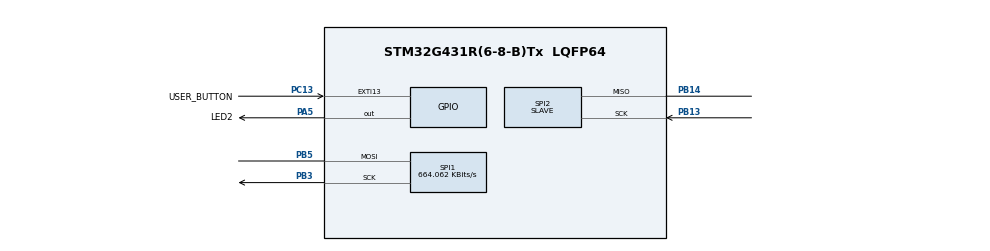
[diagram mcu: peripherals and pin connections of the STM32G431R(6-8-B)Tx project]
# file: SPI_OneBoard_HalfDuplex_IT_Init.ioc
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Mcu.Family=STM32G4
Mcu.Name=STM32G431R(6-8-B)Tx
Mcu.Package=LQFP64
NVIC.EXTI15_10_IRQn=true\:0\:0\:false\:false\:true\:true\:true\:true
NVIC.PriorityGroup=NVIC_PRIORITYGROUP_4
NVIC.SPI1_IRQn=true\:1\:0\:false\:false\:true\:true\:true\:true
NVIC.SPI2_IRQn=true\:1\:0\:false\:false\:true\:true\:true\:true
PA5.GPIO_Label=LED2
PA5.Signal=GPIO_Output
PB13.GPIO_PuPd=GPIO_PULLDOWN
PB13.GPIO_Speed=GPIO_SPEED_FREQ_HIGH
PB13.Mode=Simplex_Bidirectional_Slave
PB13.Signal=SPI2_SCK
PB14.GPIO_PuPd=GPIO_PULLDOWN
PB14.GPIO_Speed=GPIO_SPEED_FREQ_HIGH
PB14.Mode=Simplex_Bidirectional_Slave
PB14.Signal=SPI2_MISO
PB3.GPIO_PuPd=GPIO_PULLDOWN
PB3.GPIO_Speed=GPIO_SPEED_FREQ_HIGH
PB3.Mode=Simplex_Bidirectional_Master
PB3.Signal=SPI1_SCK
PB5.GPIO_PuPd=GPIO_PULLDOWN
PB5.GPIO_Speed=GPIO_SPEED_FREQ_HIGH
PB5.Mode=Simplex_Bidirectional_Master
PB5.Signal=SPI1_MOSI
PC13.GPIO_Label=USER_BUTTON
PC13.GPIO_ModeDefaultEXTI=GPIO_MODE_IT_FALLING
PC13.GPIO_PuPd=GPIO_NOPULL
PC13.Signal=GPXTI13
ProjectManager.HeapSize=0x200
ProjectManager.StackSize=0x400
ProjectManager.TargetToolchain=EWARM V8.32
RCC.ADC12Freq_Value=170000000
RCC.AHBFreq_Value=170000000
RCC.APB1Freq_Value=170000000
RCC.APB1TimFreq_Value=170000000
RCC.APB2Freq_Value=170000000
RCC.APB2TimFreq_Value=170000000
RCC.CortexFreq_Value=170000000
RCC.EXTERNAL_CLOCK_VALUE=12288000
RCC.HCLKFreq_Value=170000000
RCC.HSE_VALUE=24000000
RCC.HSI48_VALUE=48000000
RCC.HSI_VALUE=16000000
RCC.LSE_VALUE=32768
RCC.PLLM=RCC_PLLM_DIV4
RCC.PLLN=85
RCC.SYSCLKFreq_VALUE=170000000
RCC.SYSCLKSource=RCC_SYSCLKSOURCE_PLLCLK
RCC.USBFreq_Value=170000000
RCC.VCOOutputFreq_Value=340000000
SPI1.BaudRatePrescaler=SPI_BAUDRATEPRESCALER_256
SPI1.CLKPhase=SPI_PHASE_2EDGE
SPI1.CLKPolarity=SPI_POLARITY_HIGH
SPI1.CRCCalculation=SPI_CRCCALCULATION_DISABLE
SPI1.CalculateBaudRate=664.062 KBits/s
SPI1.DataSize=SPI_DATASIZE_8BIT
SPI1.Direction=SPI_DIRECTION_1LINE
SPI1.FirstBit=SPI_FIRSTBIT_MSB
SPI1.Mode=SPI_MODE_MASTER
SPI1.NSS=SPI_NSS_SOFT
SPI1.TIMode=SPI_TIMODE_DISABLE
SPI1.VirtualType=VM_MASTER
SPI2.CLKPhase=SPI_PHASE_2EDGE
SPI2.CLKPolarity=SPI_POLARITY_HIGH
SPI2.CRCCalculation=SPI_CRCCALCULATION_DISABLE
SPI2.DataSize=SPI_DATASIZE_8BIT
SPI2.Direction=SPI_DIRECTION_1LINE
SPI2.FirstBit=SPI_FIRSTBIT_MSB
SPI2.Mode=SPI_MODE_SLAVE
SPI2.NSS=SPI_NSS_SOFT
SPI2.TIMode=SPI_TIMODE_DISABLE
SPI2.VirtualType=VM_SLAVE
VP_SYS_VS_DBSignals.Mode=DisableDeadBatterySignals
board=custom

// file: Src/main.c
/* USER CODE BEGIN Header */
/**
  ******************************************************************************
  * @file    Examples_LL/SPI/SPI_OneBoard_HalfDuplex_IT_Init/Src/main.c
  * @author  MCD Application Team
  * @brief   This example describes how to send/receive bytes over SPI IP using
  *          the STM32G4xx SPI LL API.
  *          Peripheral initialization done using LL unitary services functions.
  ******************************************************************************
  * @attention
  *
  * <h2><center>&copy; Copyright (c) 2019 STMicroelectronics.
  * All rights reserved.</center></h2>
  *
  * This software component is licensed by ST under BSD 3-Clause license,
  * the "License"; You may not use this file except in compliance with the
  * License. You may obtain a copy of the License at:
  *                        opensource.org/licenses/BSD-3-Clause
  *
  ******************************************************************************
  */
/* USER CODE END Header */

#include "main.h"

/* USER CODE BEGIN PV */

__IO uint8_t ubButtonPress = 0;

/* Buffer used for transmission */
uint8_t aTxBuffer[] = "**** SPI_OneBoard_HalfDuplex_IT_Init communication **** SPI_OneBoard_HalfDuplex_IT_Init communication **** SPI_OneBoard_HalfDuplex_IT_Init communication ****";
uint8_t ubNbDataToTransmit = sizeof(aTxBuffer);
__IO uint8_t ubTransmitIndex = 0;

/* Buffer used for reception */
uint8_t aRxBuffer[sizeof(aTxBuffer)];
uint8_t ubNbDataToReceive = sizeof(aTxBuffer);
__IO uint8_t ubReceiveIndex = 0;

/* USER CODE END PV */

void SystemClock_Config(void);
static void MX_GPIO_Init(void);
static void MX_SPI1_Init(void);
static void MX_SPI2_Init(void);
/* USER CODE BEGIN PFP */
void     Activate_SPI1(void);
void     Activate_SPI2(void);
void     LED_On(void);
void     LED_Blinking(uint32_t Period);
void     LED_Off(void);
void     WaitForUserButtonPress(void);
void     WaitAndCheckEndOfTransfer(void);
uint8_t  Buffercmp8(uint8_t *pBuffer1, uint8_t *pBuffer2, uint8_t BufferLength);

/* USER CODE END PFP */

int main(void)
{

  /* MCU Configuration--------------------------------------------------------*/

  /* Reset of all peripherals, Initializes the Flash interface and the Systick. */

  LL_APB2_GRP1_EnableClock(LL_APB2_GRP1_PERIPH_SYSCFG);
  LL_APB1_GRP1_EnableClock(LL_APB1_GRP1_PERIPH_PWR);

  NVIC_SetPriorityGrouping(NVIC_PRIORITYGROUP_4);

  /* System interrupt init*/

  /* Configure the system clock */
  SystemClock_Config();

  /* Initialize all configured peripherals */
  MX_GPIO_Init();
  MX_SPI1_Init();
  MX_SPI2_Init();
  /* USER CODE BEGIN 2 */

  /* Configure the SPI2 FIFO Threshold */
  LL_SPI_SetRxFIFOThreshold(SPI2, LL_SPI_RX_FIFO_TH_QUARTER);

  /* Configure SPI1 transfer interrupts */
  /* Enable TXE   Interrupt */
  LL_SPI_EnableIT_TXE(SPI1);
  /* Enable SPI1 Error Interrupt */
  LL_SPI_EnableIT_ERR(SPI1);

  /* Configure SPI2 transfer interrupts */
  /* Enable RXNE  Interrupt */
  LL_SPI_EnableIT_RXNE(SPI2);
  /* Enable SPI2 Error Interrupt */
  LL_SPI_EnableIT_ERR(SPI2);

  /* Enable the SPI2 peripheral */
  Activate_SPI2();

  /* Wait for User push-button press to start transfer */
  WaitForUserButtonPress();

  /* Enable the SPI1 peripheral */
  Activate_SPI1();

  /* Wait for the end of the transfer and check received data */
  /* LED blinking FAST during waiting time */
  WaitAndCheckEndOfTransfer();

  /* USER CODE END 2 */

  /* Infinite loop */
  while (1)
  {

  }
}

void SystemClock_Config(void)
{
  LL_FLASH_SetLatency(LL_FLASH_LATENCY_8);
  LL_PWR_EnableRange1BoostMode();
  LL_RCC_HSI_Enable();

   /* Wait till HSI is ready */
  while(LL_RCC_HSI_IsReady() != 1)
  {

  }
  LL_RCC_HSI_SetCalibTrimming(64);
  LL_RCC_PLL_ConfigDomain_SYS(LL_RCC_PLLSOURCE_HSI, LL_RCC_PLLM_DIV_4, 85, LL_RCC_PLLR_DIV_2);
  LL_RCC_PLL_EnableDomain_SYS();
  LL_RCC_PLL_Enable();

   /* Wait till PLL is ready */
  while(LL_RCC_PLL_IsReady() != 1)
  {

  }
  LL_RCC_SetSysClkSource(LL_RCC_SYS_CLKSOURCE_PLL);
  LL_RCC_SetAHBPrescaler(LL_RCC_SYSCLK_DIV_2);

   /* Wait till System clock is ready */
  while(LL_RCC_GetSysClkSource() != LL_RCC_SYS_CLKSOURCE_STATUS_PLL)
  {

  }
  /* Insure 1µs transition state at intermediate medium speed clock based on DWT */
  CoreDebug->DEMCR |= CoreDebug_DEMCR_TRCENA_Msk;
  DWT->CTRL |= DWT_CTRL_CYCCNTENA_Msk;
  DWT->CYCCNT = 0;
  while(DWT->CYCCNT < 100);
  /* Set AHB prescaler*/
  LL_RCC_SetAHBPrescaler(LL_RCC_SYSCLK_DIV_1);
  LL_RCC_SetAPB1Prescaler(LL_RCC_APB1_DIV_1);
  LL_RCC_SetAPB2Prescaler(LL_RCC_APB1_DIV_1);
  LL_Init1msTick(170000000);
  LL_SetSystemCoreClock(170000000);
}

static void MX_SPI1_Init(void)
{

  LL_SPI_InitTypeDef SPI_InitStruct = {0};

  LL_GPIO_InitTypeDef GPIO_InitStruct = {0};

  /* Peripheral clock enable */
  LL_APB2_GRP1_EnableClock(LL_APB2_GRP1_PERIPH_SPI1);

  LL_AHB2_GRP1_EnableClock(LL_AHB2_GRP1_PERIPH_GPIOB);
  /**SPI1 GPIO Configuration
  PB3   ------> SPI1_SCK
  PB5   ------> SPI1_MOSI
  */
  GPIO_InitStruct.Pin = LL_GPIO_PIN_3;
  GPIO_InitStruct.Mode = LL_GPIO_MODE_ALTERNATE;
  GPIO_InitStruct.Speed = LL_GPIO_SPEED_FREQ_HIGH;
  GPIO_InitStruct.OutputType = LL_GPIO_OUTPUT_PUSHPULL;
  GPIO_InitStruct.Pull = LL_GPIO_PULL_DOWN;
  GPIO_InitStruct.Alternate = LL_GPIO_AF_5;
  LL_GPIO_Init(GPIOB, &GPIO_InitStruct);

  GPIO_InitStruct.Pin = LL_GPIO_PIN_5;
  GPIO_InitStruct.Mode = LL_GPIO_MODE_ALTERNATE;
  GPIO_InitStruct.Speed = LL_GPIO_SPEED_FREQ_HIGH;
  GPIO_InitStruct.OutputType = LL_GPIO_OUTPUT_PUSHPULL;
  GPIO_InitStruct.Pull = LL_GPIO_PULL_DOWN;
  GPIO_InitStruct.Alternate = LL_GPIO_AF_5;
  LL_GPIO_Init(GPIOB, &GPIO_InitStruct);

  /* SPI1 interrupt Init */
  NVIC_SetPriority(SPI1_IRQn, NVIC_EncodePriority(NVIC_GetPriorityGrouping(),1, 0));
  NVIC_EnableIRQ(SPI1_IRQn);

  /* SPI1 parameter configuration*/
  SPI_InitStruct.TransferDirection = LL_SPI_HALF_DUPLEX_TX;
  SPI_InitStruct.Mode = LL_SPI_MODE_MASTER;
  SPI_InitStruct.DataWidth = LL_SPI_DATAWIDTH_8BIT;
  SPI_InitStruct.ClockPolarity = LL_SPI_POLARITY_HIGH;
  SPI_InitStruct.ClockPhase = LL_SPI_PHASE_2EDGE;
  SPI_InitStruct.NSS = LL_SPI_NSS_SOFT;
  SPI_InitStruct.BaudRate = LL_SPI_BAUDRATEPRESCALER_DIV256;
  SPI_InitStruct.BitOrder = LL_SPI_MSB_FIRST;
  SPI_InitStruct.CRCCalculation = LL_SPI_CRCCALCULATION_DISABLE;
  SPI_InitStruct.CRCPoly = 7;
  LL_SPI_Init(SPI1, &SPI_InitStruct);
  LL_SPI_SetStandard(SPI1, LL_SPI_PROTOCOL_MOTOROLA);
  LL_SPI_DisableNSSPulseMgt(SPI1);

}

static void MX_SPI2_Init(void)
{

  LL_SPI_InitTypeDef SPI_InitStruct = {0};

  LL_GPIO_InitTypeDef GPIO_InitStruct = {0};

  /* Peripheral clock enable */
  LL_APB1_GRP1_EnableClock(LL_APB1_GRP1_PERIPH_SPI2);

  LL_AHB2_GRP1_EnableClock(LL_AHB2_GRP1_PERIPH_GPIOB);
  /**SPI2 GPIO Configuration
  PB13   ------> SPI2_SCK
  PB14   ------> SPI2_MISO
  */
  GPIO_InitStruct.Pin = LL_GPIO_PIN_13;
  GPIO_InitStruct.Mode = LL_GPIO_MODE_ALTERNATE;
  GPIO_InitStruct.Speed = LL_GPIO_SPEED_FREQ_HIGH;
  GPIO_InitStruct.OutputType = LL_GPIO_OUTPUT_PUSHPULL;
  GPIO_InitStruct.Pull = LL_GPIO_PULL_DOWN;
  GPIO_InitStruct.Alternate = LL_GPIO_AF_5;
  LL_GPIO_Init(GPIOB, &GPIO_InitStruct);

  GPIO_InitStruct.Pin = LL_GPIO_PIN_14;
  GPIO_InitStruct.Mode = LL_GPIO_MODE_ALTERNATE;
  GPIO_InitStruct.Speed = LL_GPIO_SPEED_FREQ_HIGH;
  GPIO_InitStruct.OutputType = LL_GPIO_OUTPUT_PUSHPULL;
  GPIO_InitStruct.Pull = LL_GPIO_PULL_DOWN;
  GPIO_InitStruct.Alternate = LL_GPIO_AF_5;
  LL_GPIO_Init(GPIOB, &GPIO_InitStruct);

  /* SPI2 interrupt Init */
  NVIC_SetPriority(SPI2_IRQn, NVIC_EncodePriority(NVIC_GetPriorityGrouping(),1, 0));
  NVIC_EnableIRQ(SPI2_IRQn);

  /* SPI2 parameter configuration*/
  SPI_InitStruct.TransferDirection = LL_SPI_HALF_DUPLEX_RX;
  SPI_InitStruct.Mode = LL_SPI_MODE_SLAVE;
  SPI_InitStruct.DataWidth = LL_SPI_DATAWIDTH_8BIT;
  SPI_InitStruct.ClockPolarity = LL_SPI_POLARITY_HIGH;
  SPI_InitStruct.ClockPhase = LL_SPI_PHASE_2EDGE;
  SPI_InitStruct.NSS = LL_SPI_NSS_SOFT;
  SPI_InitStruct.BitOrder = LL_SPI_MSB_FIRST;
  SPI_InitStruct.CRCCalculation = LL_SPI_CRCCALCULATION_DISABLE;
  SPI_InitStruct.CRCPoly = 7;
  LL_SPI_Init(SPI2, &SPI_InitStruct);
  LL_SPI_SetStandard(SPI2, LL_SPI_PROTOCOL_MOTOROLA);
  LL_SPI_DisableNSSPulseMgt(SPI2);

}

static void MX_GPIO_Init(void)
{
  LL_EXTI_InitTypeDef EXTI_InitStruct = {0};
  LL_GPIO_InitTypeDef GPIO_InitStruct = {0};

  /* GPIO Ports Clock Enable */
  LL_AHB2_GRP1_EnableClock(LL_AHB2_GRP1_PERIPH_GPIOC);
  LL_AHB2_GRP1_EnableClock(LL_AHB2_GRP1_PERIPH_GPIOA);
  LL_AHB2_GRP1_EnableClock(LL_AHB2_GRP1_PERIPH_GPIOB);

  /**/
  LL_GPIO_ResetOutputPin(LED2_GPIO_Port, LED2_Pin);

  /**/
  LL_SYSCFG_SetEXTISource(LL_SYSCFG_EXTI_PORTC, LL_SYSCFG_EXTI_LINE13);

  /**/
  EXTI_InitStruct.Line_0_31 = LL_EXTI_LINE_13;
  EXTI_InitStruct.LineCommand = ENABLE;
  EXTI_InitStruct.Mode = LL_EXTI_MODE_IT;
  EXTI_InitStruct.Trigger = LL_EXTI_TRIGGER_FALLING;
  LL_EXTI_Init(&EXTI_InitStruct);

  /**/
  LL_GPIO_SetPinPull(USER_BUTTON_GPIO_Port, USER_BUTTON_Pin, LL_GPIO_PULL_NO);

  /**/
  LL_GPIO_SetPinMode(USER_BUTTON_GPIO_Port, USER_BUTTON_Pin, LL_GPIO_MODE_INPUT);

  /**/
  GPIO_InitStruct.Pin = LED2_Pin;
  GPIO_InitStruct.Mode = LL_GPIO_MODE_OUTPUT;
  GPIO_InitStruct.Speed = LL_GPIO_SPEED_FREQ_LOW;
  GPIO_InitStruct.OutputType = LL_GPIO_OUTPUT_PUSHPULL;
  GPIO_InitStruct.Pull = LL_GPIO_PULL_NO;
  LL_GPIO_Init(LED2_GPIO_Port, &GPIO_InitStruct);

  /* EXTI interrupt init*/
  NVIC_SetPriority(EXTI15_10_IRQn, NVIC_EncodePriority(NVIC_GetPriorityGrouping(),0, 0));
  NVIC_EnableIRQ(EXTI15_10_IRQn);

}

/* USER CODE BEGIN 4 */

/**
  * @brief  This function Activate SPI1
  * @param  None
  * @retval None
  */
void Activate_SPI1(void)
{
  /* Enable SPI1 */
  LL_SPI_Enable(SPI1);
}

/**
  * @brief  This function Activate SPI2
  * @param  None
  * @retval None
  */
void Activate_SPI2(void)
{
  /* Enable SPI2 */
  LL_SPI_Enable(SPI2);
}

/**
  * @brief  Turn-on LED2.
  * @param  None
  * @retval None
  */
void LED_On(void)
{
  /* Turn LED2 on */
  LL_GPIO_SetOutputPin(LED2_GPIO_PORT, LED2_PIN);
}

/**
  * @brief  Turn-off LED2.
  * @param  None
  * @retval None
  */
void LED_Off(void)
{
  /* Turn LED2 off */
  LL_GPIO_ResetOutputPin(LED2_GPIO_PORT, LED2_PIN);
}

/**
  * @brief  Set LED2 to Blinking mode for an infinite loop (toggle period based on value provided as input parameter).
  * @param  Period : Period of time (in ms) between each toggling of LED
  *   This parameter can be user defined values. Pre-defined values used in that example are :
  *     @arg LED_BLINK_FAST : Fast Blinking
  *     @arg LED_BLINK_SLOW : Slow Blinking
  *     @arg LED_BLINK_ERROR : Error specific Blinking
  * @retval None
  */
void LED_Blinking(uint32_t Period)
{
  /* Toggle LED2 in an infinite loop */
  while (1)
  {
    LL_GPIO_TogglePin(LED2_GPIO_PORT, LED2_PIN);
    LL_mDelay(Period);
  }
}

/**
  * @brief  Wait for User push-button press to start transfer.
  * @param  None
  * @retval None
  */
/*  */
void WaitForUserButtonPress(void)
{
  while (ubButtonPress == 0)
  {
    LL_GPIO_TogglePin(LED2_GPIO_PORT, LED2_PIN);
    LL_mDelay(LED_BLINK_FAST);
  }
  /* Ensure that LED2 is turned Off */
  LED_Off();
}

/**
  * @brief  Wait end of transfer and check if received Data are well.
  * @param  None
  * @retval None
  */
void WaitAndCheckEndOfTransfer(void)
{
  /* 1 - Wait end of transmission */
  while (ubTransmitIndex != ubNbDataToTransmit)
  {
  }
  /* Disable TXE Interrupt */
  LL_SPI_DisableIT_TXE(SPI1);

  /* 2 - Wait end of reception */
  while (ubNbDataToReceive > ubReceiveIndex)
  {
  }
  /* Disable RXNE Interrupt */
  LL_SPI_DisableIT_RXNE(SPI2);

  /* 3 - Compare Transmit data to receive data */
  if (Buffercmp8((uint8_t *)aTxBuffer, (uint8_t *)aRxBuffer, ubNbDataToTransmit))
  {
    /* Processing Error */
    LED_Blinking(LED_BLINK_ERROR);
  }
  else
  {
    /* Turn On Led if data are well received */
    LED_On();
  }
}

/**
* @brief Compares two 8-bit buffers and returns the comparison result.
* @param pBuffer1: pointer to the source buffer to be compared to.
* @param pBuffer2: pointer to the second source buffer to be compared to the first.
* @param BufferLength: buffer's length.
* @retval   0: Comparison is OK (the two Buffers are identical)
*           Value different from 0: Comparison is NOK (Buffers are different)
*/
uint8_t Buffercmp8(uint8_t *pBuffer1, uint8_t *pBuffer2, uint8_t BufferLength)
{
  while (BufferLength--)
  {
    if (*pBuffer1 != *pBuffer2)
    {
      return 1;
    }

    pBuffer1++;
    pBuffer2++;
  }

  return 0;
}

/******************************************************************************/
/*   USER IRQ HANDLER TREATMENT Functions                                     */
/******************************************************************************/
/**
  * @brief  Function to manage User push-button
  * @param  None
  * @retval None
  */
void UserButton_Callback(void)
{
  /* Update User push-button variable : to be checked in waiting loop in main program */
  ubButtonPress = 1;
}

/**
  * @brief  Function called from SPI1 IRQ Handler when TXE flag is set
  *         Function is in charge  to transmit byte on SPI lines.
  * @param  None
  * @retval None
  */
void  SPI1_Tx_Callback(void)
{
  /* Write character in Data register.
  TXE flag is cleared by reading data in DR register */
  LL_SPI_TransmitData8(SPI1, aTxBuffer[ubTransmitIndex++]);
}

/**
  * @brief  Function called from SPI2 IRQ Handler when RXNE flag is set
  *         Function is in charge of retrieving received byte from SPI lines.
  * @param  None
  * @retval None
  */
void  SPI2_Rx_Callback(void)
{
  /* Read character in Data register.
  RXNE flag is cleared by reading data in DR register */
  aRxBuffer[ubReceiveIndex++] = LL_SPI_ReceiveData8(SPI2);
}

/**
  * @brief  Function called in case of error detected in SPI IT Handler
  * @param  None
  * @retval None
  */
void SPI_TransferError_Callback(void)
{
  /* Disable TXE   Interrupt             */
  LL_SPI_DisableIT_TXE(SPI1);

  /* Disable RXNE  Interrupt             */
  LL_SPI_DisableIT_RXNE(SPI2);

  /* Set LED2 to Blinking mode to indicate error occurs */
  LED_Blinking(LED_BLINK_ERROR);
}

/* USER CODE END 4 */

void Error_Handler(void)
{
}

/************************ (C) COPYRIGHT STMicroelectronics *****END OF FILE****/
